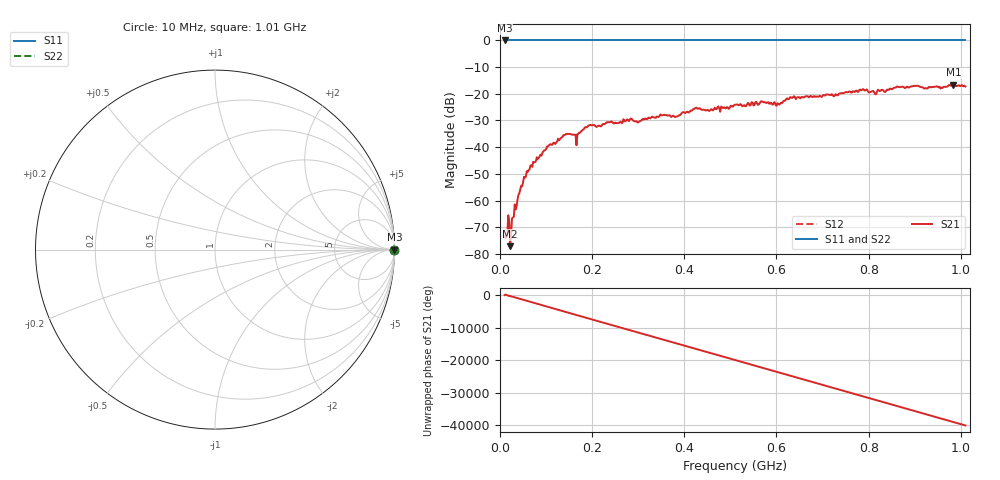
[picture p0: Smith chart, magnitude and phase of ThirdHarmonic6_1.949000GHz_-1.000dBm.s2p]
! 8/16/2025 11:28:22 PM
! C:\ANRITSUVNA\TEMP\TEMP.S2P
! CHANNEL.1
! TR.MEASUREMENT
! RAW.DATA
! RF.CORRECTION.OFF
! AVERAGING.OFF
! IF.BANDWIDTH: 5KHZ
! SWEEPTYPE:  FREQ.SWEEP(Linear)
! Reference Plane Port Info
! PORT:  PORT1  PORT2
! DISTANCE:  0  m  0  m
! TIME:  0  s  0  s
! PHASE.OFFSET:  0  deg.  0  deg.
! LOSS:  0  dB  0  dB
! REF.LOSS:  0  dB  0  dB
! REF.FREQ:  0  Hz  0  Hz
! Power Info
! POWER:  -20  dBm  -20  dBm
! EFF.POWER:  -20  dBm  -20  dBm
! SOURCE.ATTEN:  0  dB  0  dB
! TEST.ATTEN:  0  dB  0  dB
# GHZ S RI R 50.0
! FREQ.GHZ  S11RE  S11IM  S21RE  S21IM  S12RE  S12IM  S22RE  S22IM
!; PortSelection: Port_12
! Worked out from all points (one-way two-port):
!   501 points, 10 MHz to 1.01 GHz, reference 50 ohm
!   highest |S21| = -16.59 dB at 984 MHz (marker M1); lowest = -77.1 dB at 22 MHz (marker M2)
!   lowest |S11| = 0.0 dB at 10 MHz (marker M3)
!   |S11| at or under -10 dB: nowhere
!   |S22| runs from 0.0 to 0.0 dB; largest |S21 - S12| = 1.1
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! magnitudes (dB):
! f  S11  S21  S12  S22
! 10 MHz  0.0  -73.6  0.0  0.0
! 16 MHz  0.0  -72.3  0.0  0.0
! 22 MHz  0.0  -77.1  0.0  0.0
! 26 MHz  0.0  -66.7  0.0  0.0
! 30 MHz  0.0  -66.1  0.0  0.0
! 48 MHz  0.0  -54.7  0.0  0.0
! 70 MHz  0.0  -47.4  0.0  0.0
! 106 MHz  0.0  -39.3  0.0  0.0
! 142 MHz  0.0  -35.3  0.0  0.0
! 166 MHz  0.0  -39.3  0.0  0.0
! 178 MHz  0.0  -33.7  0.0  0.0
! 196 MHz  0.0  -31.7  0.0  0.0
! 344 MHz  0.0  -28.7  0.0  0.0
! 382 MHz  0.0  -28.6  0.0  0.0
! 424 MHz  0.0  -25.3  0.0  0.0
! 510 MHz  0.0  -24.1  0.0  0.0
! 602 MHz  0.0  -23.6  0.0  0.0
! 634 MHz  0.0  -21.6  0.0  0.0
! 678 MHz  0.0  -21.2  0.0  0.0
! 844 MHz  0.0  -18.5  0.0  0.0
! 984 MHz  0.0  -16.6  0.0  0.0
! 1.01 GHz  0.0  -17.3  0.0  0.0
